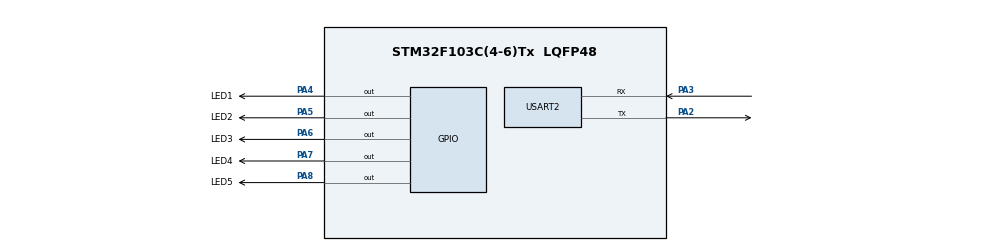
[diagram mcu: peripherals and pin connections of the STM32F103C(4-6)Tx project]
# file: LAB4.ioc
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Mcu.Family=STM32F1
Mcu.Name=STM32F103C(4-6)Tx
Mcu.Package=LQFP48
NVIC.PriorityGroup=NVIC_PRIORITYGROUP_4
NVIC.TIM2_IRQn=true\:0\:0\:false\:false\:true\:true\:true\:true
PA2.Mode=Asynchronous
PA2.Signal=USART2_TX
PA3.Mode=Asynchronous
PA3.Signal=USART2_RX
PA4.GPIO_Label=LED1
PA4.Signal=GPIO_Output
PA5.GPIO_Label=LED2
PA5.Signal=GPIO_Output
PA6.GPIO_Label=LED3
PA6.Signal=GPIO_Output
PA7.GPIO_Label=LED4
PA7.Signal=GPIO_Output
PA8.GPIO_Label=LED5
PA8.Signal=GPIO_Output
ProjectManager.HeapSize=0x200
ProjectManager.StackSize=0x400
ProjectManager.TargetToolchain=STM32CubeIDE
RCC.APB1Freq_Value=8000000
RCC.APB2Freq_Value=8000000
TIM2.Period=9
TIM2.Prescaler=7999
USART2.VirtualMode=VM_ASYNC
VP_SYS_VS_ND.Mode=No_Debug
VP_TIM2_VS_ClockSourceINT.Mode=Internal
board=custom

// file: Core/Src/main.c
/* USER CODE BEGIN Header */
/**
  ******************************************************************************
  * @file           : main.c
  * @brief          : Main program body
  ******************************************************************************
  * @attention
  *
  * Copyright (c) 2024 STMicroelectronics.
  * All rights reserved.
  *
  * This software is licensed under terms that can be found in the LICENSE file
  * in the root directory of this software component.
  * If no LICENSE file comes with this software, it is provided AS-IS.
  *
  ******************************************************************************
  */
/* USER CODE END Header */
#include "main.h"
#include "timer.h"
#include "scheduler.h"
#include <stdio.h>
#include <string.h> // Added to fix strlen implicit declaration

TIM_HandleTypeDef htim2;

UART_HandleTypeDef huart2;

void SystemClock_Config(void);
static void MX_GPIO_Init(void);
static void MX_TIM2_Init(void);
static void MX_USART2_UART_Init(void);

int main(void)
{

  /* MCU Configuration--------------------------------------------------------*/

  /* Reset of all peripherals, Initializes the Flash interface and the Systick. */
  HAL_Init();

  /* USER CODE BEGIN Init */
  SCH_Init();
  unsigned char task_index = 0;

  /* USER CODE END Init */

  /* Configure the system clock */
  SystemClock_Config();

  /* Initialize all configured peripherals */
  MX_GPIO_Init();
  MX_TIM2_Init();
  MX_USART2_UART_Init();
  /* USER CODE BEGIN 2 */
  HAL_TIM_Base_Start_IT(&htim2);
  /* USER CODE END 2 */

  /* Infinite loop */
  /* USER CODE BEGIN WHILE */
  // Add TASK_0 with a delay of 500ms and period of 500ms
  task_index = SCH_Add_Task(TASK_0, 500, 500);
  char data[1000];
  HAL_UART_Transmit(&huart2, (uint8_t *)data, sprintf(data, "Task %d is added\r\n", task_index), 1000);

  // Add TASK_1 with a delay of 1000ms and period of 1000ms
  task_index = SCH_Add_Task(TASK_1, 1000, 1000);
  HAL_UART_Transmit(&huart2, (uint8_t *)data, sprintf(data, "Task %d is added\r\n", task_index), 1000);

  // Add TASK_2 with a delay of 1500ms and period of 2000ms
  task_index = SCH_Add_Task(TASK_2, 1500, 2000);
  HAL_UART_Transmit(&huart2, (uint8_t *)data, sprintf(data, "Task %d is added\r\n", task_index), 1000);

  // Add TASK_3 with a delay of 2000ms and period of 1000ms
  task_index = SCH_Add_Task(TASK_3, 2000, 1000);
  HAL_UART_Transmit(&huart2, (uint8_t *)data, sprintf(data, "Task %d is added\r\n", task_index), 1000);

  // Add TASK_4 with a delay of 2500ms and period of 500ms
  task_index = SCH_Add_Task(TASK_4, 2500, 500);
  HAL_UART_Transmit(&huart2, (uint8_t *)data, sprintf(data, "Task %d is added\r\n", task_index), 1000);

  /* USER CODE END 2 */
  setTimer0(500);
  /* Infinite loop */
  while (1)
  {
    /* USER CODE END WHILE */
	  SCH_Dispatch_Tasks();
	  if (timer0_flag == 1)
	  {
		  HAL_GPIO_TogglePin(LED5_GPIO_Port, LED5_Pin);
	      setTimer0(500);
	  }
  }
}

// Declare elapsed_time as extern to use in the tasks
extern uint32_t elapsed_time;

// Define task functions
void TASK_0(void) {
    // Task 0 code here
    HAL_GPIO_TogglePin(LED1_GPIO_Port, LED1_Pin); // Toggle LED on PA3
}

void TASK_1(void) {
    // Task 1 code here
    HAL_GPIO_TogglePin(LED2_GPIO_Port, LED2_Pin); // Toggle LED on PA4
}

void TASK_2(void) {
    // Task 2 code here
    HAL_GPIO_TogglePin(LED3_GPIO_Port, LED3_Pin); // Toggle LED on PA5
}

void TASK_3(void) {
    // Task 3 code here
    HAL_GPIO_TogglePin(LED4_GPIO_Port, LED4_Pin); // Toggle LED on PA6
}

void TASK_4(void) {
    // Task 4 code here
    HAL_GPIO_TogglePin(LED5_GPIO_Port, LED5_Pin); // Toggle LED on PA7
}

void SystemClock_Config(void)
{
  RCC_OscInitTypeDef RCC_OscInitStruct = {0};
  RCC_ClkInitTypeDef RCC_ClkInitStruct = {0};

  /** Initializes the RCC Oscillators according to the specified parameters
  * in the RCC_OscInitTypeDef structure.
  */
  RCC_OscInitStruct.OscillatorType = RCC_OSCILLATORTYPE_HSI;
  RCC_OscInitStruct.HSIState = RCC_HSI_ON;
  RCC_OscInitStruct.HSICalibrationValue = RCC_HSICALIBRATION_DEFAULT;
  RCC_OscInitStruct.PLL.PLLState = RCC_PLL_NONE;
  if (HAL_RCC_OscConfig(&RCC_OscInitStruct) != HAL_OK)
  {
    Error_Handler();
  }

  /** Initializes the CPU, AHB and APB buses clocks
  */
  RCC_ClkInitStruct.ClockType = RCC_CLOCKTYPE_HCLK|RCC_CLOCKTYPE_SYSCLK
                              |RCC_CLOCKTYPE_PCLK1|RCC_CLOCKTYPE_PCLK2;
  RCC_ClkInitStruct.SYSCLKSource = RCC_SYSCLKSOURCE_HSI;
  RCC_ClkInitStruct.AHBCLKDivider = RCC_SYSCLK_DIV1;
  RCC_ClkInitStruct.APB1CLKDivider = RCC_HCLK_DIV1;
  RCC_ClkInitStruct.APB2CLKDivider = RCC_HCLK_DIV1;

  if (HAL_RCC_ClockConfig(&RCC_ClkInitStruct, FLASH_LATENCY_0) != HAL_OK)
  {
    Error_Handler();
  }
}

static void MX_TIM2_Init(void)
{

  TIM_ClockConfigTypeDef sClockSourceConfig = {0};
  TIM_MasterConfigTypeDef sMasterConfig = {0};

  htim2.Instance = TIM2;
  htim2.Init.Prescaler = 7999;
  htim2.Init.CounterMode = TIM_COUNTERMODE_UP;
  htim2.Init.Period = 9;
  htim2.Init.ClockDivision = TIM_CLOCKDIVISION_DIV1;
  htim2.Init.AutoReloadPreload = TIM_AUTORELOAD_PRELOAD_DISABLE;
  if (HAL_TIM_Base_Init(&htim2) != HAL_OK)
  {
    Error_Handler();
  }
  sClockSourceConfig.ClockSource = TIM_CLOCKSOURCE_INTERNAL;
  if (HAL_TIM_ConfigClockSource(&htim2, &sClockSourceConfig) != HAL_OK)
  {
    Error_Handler();
  }
  sMasterConfig.MasterOutputTrigger = TIM_TRGO_RESET;
  sMasterConfig.MasterSlaveMode = TIM_MASTERSLAVEMODE_DISABLE;
  if (HAL_TIMEx_MasterConfigSynchronization(&htim2, &sMasterConfig) != HAL_OK)
  {
    Error_Handler();
  }

}

static void MX_USART2_UART_Init(void)
{

  huart2.Instance = USART2;
  huart2.Init.BaudRate = 115200;
  huart2.Init.WordLength = UART_WORDLENGTH_8B;
  huart2.Init.StopBits = UART_STOPBITS_1;
  huart2.Init.Parity = UART_PARITY_NONE;
  huart2.Init.Mode = UART_MODE_TX_RX;
  huart2.Init.HwFlowCtl = UART_HWCONTROL_NONE;
  huart2.Init.OverSampling = UART_OVERSAMPLING_16;
  if (HAL_UART_Init(&huart2) != HAL_OK)
  {
    Error_Handler();
  }

}

static void MX_GPIO_Init(void)
{
  GPIO_InitTypeDef GPIO_InitStruct = {0};

  /* GPIO Ports Clock Enable */
  __HAL_RCC_GPIOA_CLK_ENABLE();

  /*Configure GPIO pin Output Level */
  HAL_GPIO_WritePin(GPIOA, LED1_Pin|LED2_Pin|LED3_Pin|LED4_Pin
                          |LED5_Pin, GPIO_PIN_SET);

  /*Configure GPIO pins : LED1_Pin LED2_Pin LED3_Pin LED4_Pin
                           LED5_Pin */
  GPIO_InitStruct.Pin = LED1_Pin|LED2_Pin|LED3_Pin|LED4_Pin
                          |LED5_Pin;
  GPIO_InitStruct.Mode = GPIO_MODE_OUTPUT_PP;
  GPIO_InitStruct.Pull = GPIO_NOPULL;
  GPIO_InitStruct.Speed = GPIO_SPEED_FREQ_LOW;
  HAL_GPIO_Init(GPIOA, &GPIO_InitStruct);

}

void Error_Handler(void)
{
  __disable_irq();
  while (1)
  {
  }
}
